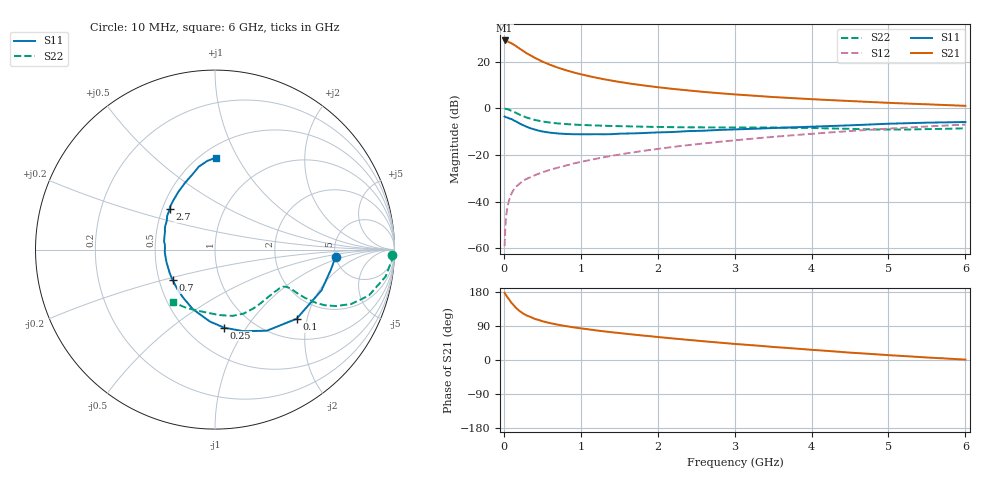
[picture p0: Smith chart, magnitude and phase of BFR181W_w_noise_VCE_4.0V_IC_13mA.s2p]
! Infineon Technologies  Discrete & RF Semiconductors
! BFR181W
! VCE =  4.0 V,  IC =  13 mA
! Common Emitter S-Parameters:  Jan 2017
# GHz  S  MA  R  50
!  f  S11  S21  S12  S22
! GHz  MAG  ANG  MAG  ANG  MAG  ANG  MAG  ANG
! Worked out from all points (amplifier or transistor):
!   77 points, 10 MHz to 6 GHz, reference 50 ohm
!   highest |S21| = 29.2 dB at 10 MHz (marker M1)
!   |S21| within 3 dB of that: start of sweep to 183.1 MHz
!   unconditionally stable (mu >= 1): 844.7 MHz to 2.757 GHz
!   at 130 MHz: K = 0.33, MSG = 31.1 dB, |S12| = -34.8 dB
!   at 2.2 GHz: K = 1.05, MAG = 11.2 dB, |S12| = -16.5 dB
!   at 6 GHz: K = 0.84, MSG = 4.0 dB, |S12| = -6.9 dB
!   lowest NFmin = 1.39 dB at 450 MHz
!   S11 on the Smith chart (normalised r, x): 10 MHz: 5.01, -0.73; 100 MHz: 1.45, -1.73; 250 MHz: 0.74, -0.80; 700 MHz: 0.59, -0.22; 2.7 GHz: 0.55, +0.28; 6 GHz: 0.59, +0.82
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0.01  0.6731 -3.4  28.97 177.3  0.0011 90.3  0.9879 -1.6
0.02  0.6559 -9.6  28.47 173.5  0.003 84.7  0.9868 -3.5
0.05  0.6352 -20.9  27.66 164.6  0.0082 84.7  0.9622 -9.0
0.1  0.596 -40.3  25.22 150.5  0.0149 72.6  0.8948 -16.6
0.15  0.536 -57.5  22.39 139.3  0.0204 68.2  0.8167 -21.8
0.2  0.4811 -70.9  19.61 130.0  0.0238 66.3  0.7443 -25.0
0.25  0.4378 -83.3  17.29 122.8  0.0282 63.4  0.6851 -26.9
0.3  0.4024 -93.9  15.26 117.2  0.0309 62.1  0.6356 -27.8
0.4  0.3536 -110.5  12.32 108.6  0.0366 63.1  0.5687 -28.2
0.5  0.3206 -124.0  10.2 102.4  0.0424 63.6  0.5257 -28.0
0.6  0.3023 -134.7  8.707 97.4  0.0482 64.6  0.4973 -27.6
0.7  0.291 -144.4  7.564 93.3  0.0534 66.2  0.4778 -27.3
0.9  0.2799 -159.5  5.997 86.4  0.0653 67.6  0.4526 -27.5
1.1  0.2786 -171.2  4.982 80.9  0.0769 69.4  0.4373 -28.2
1.3  0.2789 178.5  4.253 75.7  0.0894 69.6  0.4263 -29.7
1.5  0.2873 171.1  3.726 71.2  0.1019 69.8  0.4168 -31.7
2.1  0.3092 152.1  2.748 58.8  0.1423 68.8  0.3991 -40.3
2.7  0.3396 138.2  2.199 47.7  0.1847 66.3  0.3921 -51.2
3.1  0.3594 130.1  1.957 41.0  0.2144 64.1  0.3904 -58.6
4.1  0.4117 113.0  1.556 25.5  0.2936 57.1  0.3776 -77.3
5.1  0.4754 99.8  1.303 11.6  0.3766 48.4  0.3528 -103.3
6  0.5126 89.3  1.141 1.0  0.4522 39.4  0.3759 -128.4
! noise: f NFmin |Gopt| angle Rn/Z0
0.45  1.39  0.08  17  0.21
0.9  1.43  0.08  31  0.21
1.9  1.86  0.09  -144  0.21
2.4  2.07  0.11  -109  0.26
